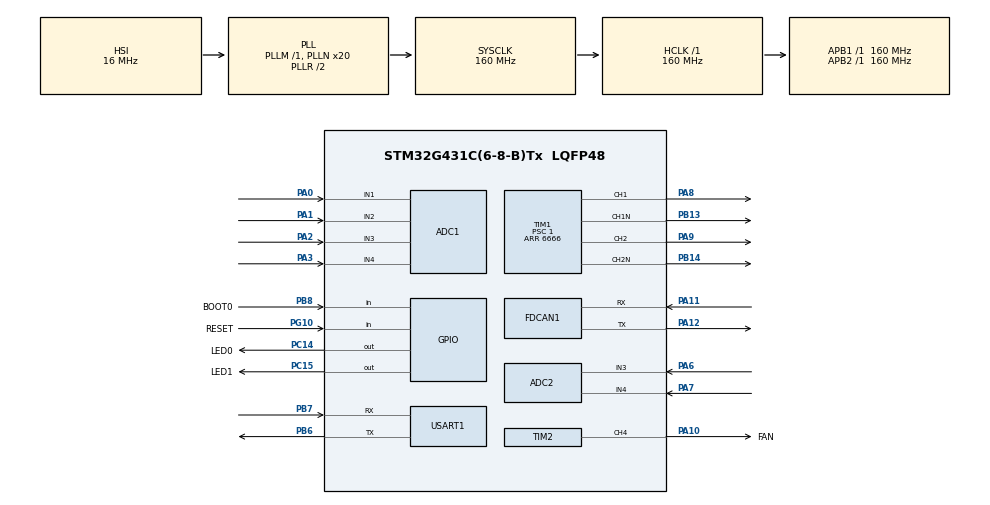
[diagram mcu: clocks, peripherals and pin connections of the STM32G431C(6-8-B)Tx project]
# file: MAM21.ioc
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ADC1.Channel-0\#ChannelRegularConversion=ADC_CHANNEL_1
ADC1.NbrOfConversionFlag=1
ADC1.OffsetNumber-0\#ChannelRegularConversion=ADC_OFFSET_NONE
ADC1.Rank-0\#ChannelRegularConversion=1
ADC1.SamplingTime-0\#ChannelRegularConversion=ADC_SAMPLETIME_2CYCLES_5
ADC1.SingleDiff-0\#ChannelRegularConversion=ADC_DIFFERENTIAL_ENDED
ADC1.master=1
ADC2.Channel-3\#ChannelRegularConversion=ADC_CHANNEL_3
ADC2.NbrOfConversionFlag=1
ADC2.OffsetNumber-3\#ChannelRegularConversion=ADC_OFFSET_NONE
ADC2.Rank-3\#ChannelRegularConversion=1
ADC2.SamplingTime-3\#ChannelRegularConversion=ADC_SAMPLETIME_2CYCLES_5
ADC2.SingleDiff-3\#ChannelRegularConversion=ADC_DIFFERENTIAL_ENDED
FDCAN1.AutoRetransmission=ENABLE
FDCAN1.DataPrescaler=20
FDCAN1.DataSyncJumpWidth=16
FDCAN1.DataTimeSeg1=13
FDCAN1.DataTimeSeg2=2
FDCAN1.Mode=FDCAN_MODE_NORMAL
FDCAN1.NominalPrescaler=20
FDCAN1.NominalSyncJumpWidth=16
FDCAN1.NominalTimeSeg1=13
FDCAN1.NominalTimeSeg2=2
FDCAN1.StdFiltersNbr=1
FDCAN1.TransmitPause=ENABLE
Mcu.Family=STM32G4
Mcu.Name=STM32G431C(6-8-B)Tx
Mcu.Package=LQFP48
NVIC.FDCAN1_IT0_IRQn=true\:0\:0\:false\:false\:true\:true\:true
NVIC.FDCAN1_IT1_IRQn=true\:0\:0\:false\:false\:true\:true\:true
NVIC.PriorityGroup=NVIC_PRIORITYGROUP_4
NVIC.TIM1_UP_TIM16_IRQn=true\:0\:0\:false\:false\:true\:true\:true
PA0.Mode=IN1-Differential
PA0.Signal=ADC1_IN1
PA1.Mode=IN1-Differential
PA1.Signal=ADC1_IN2
PA10.GPIO_Label=FAN
PA10.Signal=S_TIM2_CH4
PA11.GPIO_Speed=GPIO_SPEED_FREQ_VERY_HIGH
PA11.Mode=FDCAN_Activate
PA11.Signal=FDCAN1_RX
PA12.GPIO_Speed=GPIO_SPEED_FREQ_VERY_HIGH
PA12.Mode=FDCAN_Activate
PA12.Signal=FDCAN1_TX
PA13.Mode=Trace_Asynchronous_SW
PA13.Signal=SYS_JTMS-SWDIO
PA14.Mode=Trace_Asynchronous_SW
PA14.Signal=SYS_JTCK-SWCLK
PA2.Mode=IN3-Differential
PA2.Signal=ADC1_IN3
PA3.Mode=IN3-Differential
PA3.Signal=ADC1_IN4
PA6.Mode=IN3-Differential
PA6.Signal=ADC2_IN3
PA7.Mode=IN3-Differential
PA7.Signal=ADC2_IN4
PA8.GPIO_PuPd=GPIO_PULLDOWN
PA8.GPIO_Speed=GPIO_SPEED_FREQ_HIGH
PA8.Signal=S_TIM1_CH1
PA9.GPIO_PuPd=GPIO_PULLDOWN
PA9.GPIO_Speed=GPIO_SPEED_FREQ_HIGH
PA9.Signal=S_TIM1_CH2
PB13.Mode=PWM Generation1 CH1 CH1N
PB13.Signal=TIM1_CH1N
PB14.Mode=PWM Generation2 CH2 CH2N
PB14.Signal=TIM1_CH2N
PB3.Mode=Trace_Asynchronous_SW
PB3.Signal=SYS_JTDO-SWO
PB6.Mode=Asynchronous
PB6.Signal=USART1_TX
PB7.Mode=Asynchronous
PB7.Signal=USART1_RX
PB8-BOOT0.GPIO_Label=BOOT0
PB8-BOOT0.Signal=GPIO_Input
PC14-OSC32_IN.GPIO_Label=LED0
PC14-OSC32_IN.PinState=GPIO_PIN_SET
PC14-OSC32_IN.Signal=GPIO_Output
PC15-OSC32_OUT.GPIO_Label=LED1
PC15-OSC32_OUT.PinState=GPIO_PIN_RESET
PC15-OSC32_OUT.Signal=GPIO_Output
PG10-NRST.GPIO_Label=RESET
PG10-NRST.Signal=GPIO_Input
ProjectManager.HeapSize=0x200
ProjectManager.StackSize=0x400
ProjectManager.TargetToolchain=Makefile
RCC.ADC12Freq_Value=160000000
RCC.AHBFreq_Value=160000000
RCC.APB1Freq_Value=160000000
RCC.APB1TimFreq_Value=160000000
RCC.APB2Freq_Value=160000000
RCC.APB2TimFreq_Value=160000000
RCC.CortexFreq_Value=160000000
RCC.EXTERNAL_CLOCK_VALUE=12288000
RCC.HCLKFreq_Value=160000000
RCC.HSE_VALUE=8000000
RCC.HSI48_VALUE=48000000
RCC.HSI_VALUE=16000000
RCC.LSE_VALUE=32768
RCC.PLLN=20
RCC.SYSCLKFreq_VALUE=160000000
RCC.SYSCLKSource=RCC_SYSCLKSOURCE_PLLCLK
RCC.USBFreq_Value=160000000
RCC.VCOOutputFreq_Value=320000000
SH.S_TIM1_CH1.0=TIM1_CH1,PWM Generation1 CH1 CH1N
SH.S_TIM1_CH2.0=TIM1_CH2,PWM Generation2 CH2 CH2N
SH.S_TIM2_CH4.0=TIM2_CH4,PWM Generation4 CH4
TIM1.AsymmetricalDeadTime=DISABLE
TIM1.Channel-PWM\ Generation1\ CH1\ CH1N=TIM_CHANNEL_1
TIM1.Channel-PWM\ Generation2\ CH2\ CH2N=TIM_CHANNEL_2
TIM1.DeadTime=30
TIM1.FallingDeadTime=254
TIM1.OC1Preload_PWM=ENABLE
TIM1.OC2Preload_PWM=ENABLE
TIM1.OCMode_PWM-PWM\ Generation1\ CH1\ CH1N=TIM_OCMODE_PWM2
TIM1.OCMode_PWM-PWM\ Generation2\ CH2\ CH2N=TIM_OCMODE_PWM1
TIM1.OCNPolarity_1=TIM_OCNPOLARITY_HIGH
TIM1.OCNPolarity_2=TIM_OCNPOLARITY_HIGH
TIM1.OCPolarity_1=TIM_OCPOLARITY_HIGH
TIM1.PeriodNoDither=6666
TIM1.Prescaler=1
TIM1.PulseNoDither_1=3333
TIM1.PulseNoDither_2=3333
TIM2.Channel-PWM\ Generation1\ No\ Output=TIM_CHANNEL_1
TIM2.Channel-PWM\ Generation4\ CH4=TIM_CHANNEL_4
USART1.VirtualMode-Asynchronous=VM_ASYNC
VP_SYS_VS_DBSignals.Mode=DisableDeadBatterySignals
VP_TIM16_VS_ClockSourceINT.Mode=Enable_Timer
VP_TIM17_VS_ClockSourceINT.Mode=Enable_Timer
VP_TIM1_VS_ClockSourceINT.Mode=Internal
VP_TIM2_VS_no_output1.Mode=PWM Generation1 No Output
board=custom

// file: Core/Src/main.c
/* USER CODE BEGIN Header */
/**
 ******************************************************************************
 * @file           : main.c
 * @brief          : Main program body
 ******************************************************************************
 * @attention
 *
 * <h2><center>&copy; Copyright (c) 2022 STMicroelectronics.
 * All rights reserved.</center></h2>
 *
 * This software component is licensed by ST under BSD 3-Clause license,
 * the "License"; You may not use this file except in compliance with the
 * License. You may obtain a copy of the License at:
 *                        opensource.org/licenses/BSD-3-Clause
 *
 ******************************************************************************
 */
/* USER CODE END Header */
#include "main.h"

/* USER CODE BEGIN Includes */
#include "machine.h"
/* USER CODE END Includes */

ADC_HandleTypeDef hadc1;
ADC_HandleTypeDef hadc2;

FDCAN_HandleTypeDef hfdcan1;

TIM_HandleTypeDef htim1;
TIM_HandleTypeDef htim2;
TIM_HandleTypeDef htim16;
TIM_HandleTypeDef htim17;

UART_HandleTypeDef huart1;

/* USER CODE BEGIN PV */
uint8_t batata;
uint8_t ubKeyNumber = 0x0;
FDCAN_RxHeaderTypeDef RxHeader;
FDCAN_TxHeaderTypeDef TxHeader;

// For PWM control of engine
struct MotorControl
{
    uint32_t dir;
    uint32_t enable;
    float duty;
} control_temp;

/* USER CODE END PV */

void SystemClock_Config(void);
static void MX_GPIO_Init(void);
static void MX_ADC1_Init(void);
static void MX_ADC2_Init(void);
static void MX_FDCAN1_Init(void);
static void MX_USART1_UART_Init(void);
static void MX_TIM2_Init(void);
static void MX_TIM16_Init(void);
static void MX_TIM17_Init(void);
static void MX_TIM1_Init(void);
/* USER CODE BEGIN PFP */

static void FDCAN_Config(void);
/* USER CODE END PFP */

int main(void)
{

    /* MCU Configuration--------------------------------------------------------*/

    /* Reset of all peripherals, Initializes the Flash interface and the Systick. */
    HAL_Init();

    /* Configure the system clock */
    SystemClock_Config();

    /* Initialize all configured peripherals */
    MX_GPIO_Init();
    MX_ADC1_Init();
    MX_ADC2_Init();
    MX_FDCAN1_Init();
    MX_USART1_UART_Init();
    MX_TIM2_Init();
    MX_TIM16_Init();
    MX_TIM17_Init();
    MX_TIM1_Init();
    /* USER CODE BEGIN 2 */
    machine_init();
    control_init(&htim1);
    can_init(&hfdcan1);
    /* USER CODE END 2 */

    /* Infinite loop */
    while (1)
    {

        /* USER CODE BEGIN 3 */
        /* Set the data to be transmitted */

        // batata = HAL_FDCAN_GetRxFifoFillLevel(&hfdcan1, FDCAN_RX_FIFO0);
        // /* Start the Transmission process */
        // if (HAL_FDCAN_AddMessageToTxFifoQ(&hfdcan1, &TxHeader, TxData) != HAL_OK)
        // {
        //     /* Transmission request Error */
        //     //  Error_Handler();
        // }
        /* Retrieve Rx messages from RX FIFO0 */

        // HAL_FDCAN_IRQHandler(&hfdcan1);

         machine_run();
    }
    /* USER CODE END 3 */
}

void SystemClock_Config(void)
{
    RCC_OscInitTypeDef RCC_OscInitStruct = {0};
    RCC_ClkInitTypeDef RCC_ClkInitStruct = {0};
    RCC_PeriphCLKInitTypeDef PeriphClkInit = {0};

    /** Configure the main internal regulator output voltage
     */
    HAL_PWREx_ControlVoltageScaling(PWR_REGULATOR_VOLTAGE_SCALE1_BOOST);
    /** Initializes the RCC Oscillators according to the specified parameters
     * in the RCC_OscInitTypeDef structure.
     */
    RCC_OscInitStruct.OscillatorType = RCC_OSCILLATORTYPE_HSI;
    RCC_OscInitStruct.HSIState = RCC_HSI_ON;
    RCC_OscInitStruct.HSICalibrationValue = RCC_HSICALIBRATION_DEFAULT;
    RCC_OscInitStruct.PLL.PLLState = RCC_PLL_ON;
    RCC_OscInitStruct.PLL.PLLSource = RCC_PLLSOURCE_HSI;
    RCC_OscInitStruct.PLL.PLLM = RCC_PLLM_DIV1;
    RCC_OscInitStruct.PLL.PLLN = 20;
    RCC_OscInitStruct.PLL.PLLP = RCC_PLLP_DIV2;
    RCC_OscInitStruct.PLL.PLLQ = RCC_PLLQ_DIV2;
    RCC_OscInitStruct.PLL.PLLR = RCC_PLLR_DIV2;
    if (HAL_RCC_OscConfig(&RCC_OscInitStruct) != HAL_OK)
    {
        Error_Handler();
    }
    /** Initializes the CPU, AHB and APB buses clocks
     */
    RCC_ClkInitStruct.ClockType = RCC_CLOCKTYPE_HCLK | RCC_CLOCKTYPE_SYSCLK | RCC_CLOCKTYPE_PCLK1 | RCC_CLOCKTYPE_PCLK2;
    RCC_ClkInitStruct.SYSCLKSource = RCC_SYSCLKSOURCE_PLLCLK;
    RCC_ClkInitStruct.AHBCLKDivider = RCC_SYSCLK_DIV1;
    RCC_ClkInitStruct.APB1CLKDivider = RCC_HCLK_DIV1;
    RCC_ClkInitStruct.APB2CLKDivider = RCC_HCLK_DIV1;

    if (HAL_RCC_ClockConfig(&RCC_ClkInitStruct, FLASH_LATENCY_4) != HAL_OK)
    {
        Error_Handler();
    }
    /** Initializes the peripherals clocks
     */
    PeriphClkInit.PeriphClockSelection = RCC_PERIPHCLK_USART1 | RCC_PERIPHCLK_ADC12 | RCC_PERIPHCLK_FDCAN;
    PeriphClkInit.Usart1ClockSelection = RCC_USART1CLKSOURCE_PCLK2;
    PeriphClkInit.FdcanClockSelection = RCC_FDCANCLKSOURCE_PCLK1;
    PeriphClkInit.Adc12ClockSelection = RCC_ADC12CLKSOURCE_SYSCLK;
    if (HAL_RCCEx_PeriphCLKConfig(&PeriphClkInit) != HAL_OK)
    {
        Error_Handler();
    }
}

static void MX_ADC1_Init(void)
{

    ADC_MultiModeTypeDef multimode = {0};
    ADC_ChannelConfTypeDef sConfig = {0};

    /** Common config
     */
    hadc1.Instance = ADC1;
    hadc1.Init.ClockPrescaler = ADC_CLOCK_SYNC_PCLK_DIV4;
    hadc1.Init.Resolution = ADC_RESOLUTION_12B;
    hadc1.Init.DataAlign = ADC_DATAALIGN_RIGHT;
    hadc1.Init.GainCompensation = 0;
    hadc1.Init.ScanConvMode = ADC_SCAN_DISABLE;
    hadc1.Init.EOCSelection = ADC_EOC_SINGLE_CONV;
    hadc1.Init.LowPowerAutoWait = DISABLE;
    hadc1.Init.ContinuousConvMode = DISABLE;
    hadc1.Init.NbrOfConversion = 1;
    hadc1.Init.DiscontinuousConvMode = DISABLE;
    hadc1.Init.ExternalTrigConv = ADC_SOFTWARE_START;
    hadc1.Init.ExternalTrigConvEdge = ADC_EXTERNALTRIGCONVEDGE_NONE;
    hadc1.Init.DMAContinuousRequests = DISABLE;
    hadc1.Init.Overrun = ADC_OVR_DATA_PRESERVED;
    hadc1.Init.OversamplingMode = DISABLE;
    if (HAL_ADC_Init(&hadc1) != HAL_OK)
    {
        Error_Handler();
    }
    /** Configure the ADC multi-mode
     */
    multimode.Mode = ADC_MODE_INDEPENDENT;
    if (HAL_ADCEx_MultiModeConfigChannel(&hadc1, &multimode) != HAL_OK)
    {
        Error_Handler();
    }
    /** Configure Regular Channel
     */
    sConfig.Channel = ADC_CHANNEL_1;
    sConfig.Rank = ADC_REGULAR_RANK_1;
    sConfig.SamplingTime = ADC_SAMPLETIME_2CYCLES_5;
    sConfig.SingleDiff = ADC_DIFFERENTIAL_ENDED;
    sConfig.OffsetNumber = ADC_OFFSET_NONE;
    sConfig.Offset = 0;
    if (HAL_ADC_ConfigChannel(&hadc1, &sConfig) != HAL_OK)
    {
        Error_Handler();
    }
}

static void MX_ADC2_Init(void)
{

    ADC_ChannelConfTypeDef sConfig = {0};

    /** Common config
     */
    hadc2.Instance = ADC2;
    hadc2.Init.ClockPrescaler = ADC_CLOCK_SYNC_PCLK_DIV4;
    hadc2.Init.Resolution = ADC_RESOLUTION_12B;
    hadc2.Init.DataAlign = ADC_DATAALIGN_RIGHT;
    hadc2.Init.GainCompensation = 0;
    hadc2.Init.ScanConvMode = ADC_SCAN_DISABLE;
    hadc2.Init.EOCSelection = ADC_EOC_SINGLE_CONV;
    hadc2.Init.LowPowerAutoWait = DISABLE;
    hadc2.Init.ContinuousConvMode = DISABLE;
    hadc2.Init.NbrOfConversion = 1;
    hadc2.Init.DiscontinuousConvMode = DISABLE;
    hadc2.Init.ExternalTrigConv = ADC_SOFTWARE_START;
    hadc2.Init.ExternalTrigConvEdge = ADC_EXTERNALTRIGCONVEDGE_NONE;
    hadc2.Init.DMAContinuousRequests = DISABLE;
    hadc2.Init.Overrun = ADC_OVR_DATA_PRESERVED;
    hadc2.Init.OversamplingMode = DISABLE;
    if (HAL_ADC_Init(&hadc2) != HAL_OK)
    {
        Error_Handler();
    }
    /** Configure Regular Channel
     */
    sConfig.Channel = ADC_CHANNEL_3;
    sConfig.Rank = ADC_REGULAR_RANK_1;
    sConfig.SamplingTime = ADC_SAMPLETIME_2CYCLES_5;
    sConfig.SingleDiff = ADC_DIFFERENTIAL_ENDED;
    sConfig.OffsetNumber = ADC_OFFSET_NONE;
    sConfig.Offset = 0;
    if (HAL_ADC_ConfigChannel(&hadc2, &sConfig) != HAL_OK)
    {
        Error_Handler();
    }
}

static void MX_FDCAN1_Init(void)
{

    hfdcan1.Instance = FDCAN1;
    hfdcan1.Init.ClockDivider = FDCAN_CLOCK_DIV1;
    hfdcan1.Init.FrameFormat = FDCAN_FRAME_CLASSIC;
    hfdcan1.Init.Mode = FDCAN_MODE_NORMAL;
    hfdcan1.Init.AutoRetransmission = ENABLE;
    hfdcan1.Init.TransmitPause = ENABLE;
    hfdcan1.Init.ProtocolException = DISABLE;
    hfdcan1.Init.NominalPrescaler = 20;
    hfdcan1.Init.NominalSyncJumpWidth = 16;
    hfdcan1.Init.NominalTimeSeg1 = 13;
    hfdcan1.Init.NominalTimeSeg2 = 2;
    hfdcan1.Init.DataPrescaler = 20;
    hfdcan1.Init.DataSyncJumpWidth = 16;
    hfdcan1.Init.DataTimeSeg1 = 13;
    hfdcan1.Init.DataTimeSeg2 = 2;
    hfdcan1.Init.StdFiltersNbr = 1;
    hfdcan1.Init.ExtFiltersNbr = 0;
    hfdcan1.Init.TxFifoQueueMode = FDCAN_TX_FIFO_OPERATION;
    if (HAL_FDCAN_Init(&hfdcan1) != HAL_OK)
    {
        Error_Handler();
    }
}

static void MX_TIM1_Init(void)
{

    TIM_ClockConfigTypeDef sClockSourceConfig = {0};
    TIM_MasterConfigTypeDef sMasterConfig = {0};
    TIM_OC_InitTypeDef sConfigOC = {0};
    TIM_BreakDeadTimeConfigTypeDef sBreakDeadTimeConfig = {0};

    htim1.Instance = TIM1;
    htim1.Init.Prescaler = 1;
    htim1.Init.CounterMode = TIM_COUNTERMODE_UP;
    htim1.Init.Period = 6666;
    htim1.Init.ClockDivision = TIM_CLOCKDIVISION_DIV1;
    htim1.Init.RepetitionCounter = 0;
    htim1.Init.AutoReloadPreload = TIM_AUTORELOAD_PRELOAD_DISABLE;
    if (HAL_TIM_Base_Init(&htim1) != HAL_OK)
    {
        Error_Handler();
    }
    sClockSourceConfig.ClockSource = TIM_CLOCKSOURCE_INTERNAL;
    if (HAL_TIM_ConfigClockSource(&htim1, &sClockSourceConfig) != HAL_OK)
    {
        Error_Handler();
    }
    if (HAL_TIM_PWM_Init(&htim1) != HAL_OK)
    {
        Error_Handler();
    }
    sMasterConfig.MasterOutputTrigger = TIM_TRGO_RESET;
    sMasterConfig.MasterOutputTrigger2 = TIM_TRGO2_RESET;
    sMasterConfig.MasterSlaveMode = TIM_MASTERSLAVEMODE_DISABLE;
    if (HAL_TIMEx_MasterConfigSynchronization(&htim1, &sMasterConfig) != HAL_OK)
    {
        Error_Handler();
    }
    sConfigOC.OCMode = TIM_OCMODE_PWM2;
    sConfigOC.Pulse = 3333;
    sConfigOC.OCPolarity = TIM_OCPOLARITY_HIGH;
    sConfigOC.OCNPolarity = TIM_OCNPOLARITY_HIGH;
    sConfigOC.OCFastMode = TIM_OCFAST_DISABLE;
    sConfigOC.OCIdleState = TIM_OCIDLESTATE_RESET;
    sConfigOC.OCNIdleState = TIM_OCNIDLESTATE_RESET;
    if (HAL_TIM_PWM_ConfigChannel(&htim1, &sConfigOC, TIM_CHANNEL_1) != HAL_OK)
    {
        Error_Handler();
    }
    sConfigOC.OCMode = TIM_OCMODE_PWM1;
    if (HAL_TIM_PWM_ConfigChannel(&htim1, &sConfigOC, TIM_CHANNEL_2) != HAL_OK)
    {
        Error_Handler();
    }
    sBreakDeadTimeConfig.OffStateRunMode = TIM_OSSR_DISABLE;
    sBreakDeadTimeConfig.OffStateIDLEMode = TIM_OSSI_DISABLE;
    sBreakDeadTimeConfig.LockLevel = TIM_LOCKLEVEL_OFF;
    sBreakDeadTimeConfig.DeadTime = 30;
    sBreakDeadTimeConfig.BreakState = TIM_BREAK_DISABLE;
    sBreakDeadTimeConfig.BreakPolarity = TIM_BREAKPOLARITY_HIGH;
    sBreakDeadTimeConfig.BreakFilter = 0;
    sBreakDeadTimeConfig.BreakAFMode = TIM_BREAK_AFMODE_INPUT;
    sBreakDeadTimeConfig.Break2State = TIM_BREAK2_DISABLE;
    sBreakDeadTimeConfig.Break2Polarity = TIM_BREAK2POLARITY_HIGH;
    sBreakDeadTimeConfig.Break2Filter = 0;
    sBreakDeadTimeConfig.Break2AFMode = TIM_BREAK_AFMODE_INPUT;
    sBreakDeadTimeConfig.AutomaticOutput = TIM_AUTOMATICOUTPUT_DISABLE;
    if (HAL_TIMEx_ConfigBreakDeadTime(&htim1, &sBreakDeadTimeConfig) != HAL_OK)
    {
        Error_Handler();
    }
    HAL_TIM_MspPostInit(&htim1);
}

static void MX_TIM2_Init(void)
{

    TIM_MasterConfigTypeDef sMasterConfig = {0};
    TIM_OC_InitTypeDef sConfigOC = {0};

    htim2.Instance = TIM2;
    htim2.Init.Prescaler = 0;
    htim2.Init.CounterMode = TIM_COUNTERMODE_UP;
    htim2.Init.Period = 4.294967295E9;
    htim2.Init.ClockDivision = TIM_CLOCKDIVISION_DIV1;
    htim2.Init.AutoReloadPreload = TIM_AUTORELOAD_PRELOAD_DISABLE;
    if (HAL_TIM_PWM_Init(&htim2) != HAL_OK)
    {
        Error_Handler();
    }
    sMasterConfig.MasterOutputTrigger = TIM_TRGO_RESET;
    sMasterConfig.MasterSlaveMode = TIM_MASTERSLAVEMODE_DISABLE;
    if (HAL_TIMEx_MasterConfigSynchronization(&htim2, &sMasterConfig) != HAL_OK)
    {
        Error_Handler();
    }
    sConfigOC.OCMode = TIM_OCMODE_PWM1;
    sConfigOC.Pulse = 0;
    sConfigOC.OCPolarity = TIM_OCPOLARITY_HIGH;
    sConfigOC.OCFastMode = TIM_OCFAST_DISABLE;
    if (HAL_TIM_PWM_ConfigChannel(&htim2, &sConfigOC, TIM_CHANNEL_1) != HAL_OK)
    {
        Error_Handler();
    }
    if (HAL_TIM_PWM_ConfigChannel(&htim2, &sConfigOC, TIM_CHANNEL_4) != HAL_OK)
    {
        Error_Handler();
    }
    HAL_TIM_MspPostInit(&htim2);
}

static void MX_TIM16_Init(void)
{

    htim16.Instance = TIM16;
    htim16.Init.Prescaler = 0;
    htim16.Init.CounterMode = TIM_COUNTERMODE_UP;
    htim16.Init.Period = 65535;
    htim16.Init.ClockDivision = TIM_CLOCKDIVISION_DIV1;
    htim16.Init.RepetitionCounter = 0;
    htim16.Init.AutoReloadPreload = TIM_AUTORELOAD_PRELOAD_DISABLE;
    if (HAL_TIM_Base_Init(&htim16) != HAL_OK)
    {
        Error_Handler();
    }
}

static void MX_TIM17_Init(void)
{

    htim17.Instance = TIM17;
    htim17.Init.Prescaler = 0;
    htim17.Init.CounterMode = TIM_COUNTERMODE_UP;
    htim17.Init.Period = 65535;
    htim17.Init.ClockDivision = TIM_CLOCKDIVISION_DIV1;
    htim17.Init.RepetitionCounter = 0;
    htim17.Init.AutoReloadPreload = TIM_AUTORELOAD_PRELOAD_DISABLE;
    if (HAL_TIM_Base_Init(&htim17) != HAL_OK)
    {
        Error_Handler();
    }
}

static void MX_USART1_UART_Init(void)
{

    huart1.Instance = USART1;
    huart1.Init.BaudRate = 115200;
    huart1.Init.WordLength = UART_WORDLENGTH_8B;
    huart1.Init.StopBits = UART_STOPBITS_1;
    huart1.Init.Parity = UART_PARITY_NONE;
    huart1.Init.Mode = UART_MODE_TX_RX;
    huart1.Init.HwFlowCtl = UART_HWCONTROL_NONE;
    huart1.Init.OverSampling = UART_OVERSAMPLING_16;
    huart1.Init.OneBitSampling = UART_ONE_BIT_SAMPLE_DISABLE;
    huart1.Init.ClockPrescaler = UART_PRESCALER_DIV1;
    huart1.AdvancedInit.AdvFeatureInit = UART_ADVFEATURE_NO_INIT;
    if (HAL_UART_Init(&huart1) != HAL_OK)
    {
        Error_Handler();
    }
    if (HAL_UARTEx_SetTxFifoThreshold(&huart1, UART_TXFIFO_THRESHOLD_1_8) != HAL_OK)
    {
        Error_Handler();
    }
    if (HAL_UARTEx_SetRxFifoThreshold(&huart1, UART_RXFIFO_THRESHOLD_1_8) != HAL_OK)
    {
        Error_Handler();
    }
    if (HAL_UARTEx_DisableFifoMode(&huart1) != HAL_OK)
    {
        Error_Handler();
    }
}

static void MX_GPIO_Init(void)
{
    GPIO_InitTypeDef GPIO_InitStruct = {0};

    /* GPIO Ports Clock Enable */
    __HAL_RCC_GPIOC_CLK_ENABLE();
    __HAL_RCC_GPIOG_CLK_ENABLE();
    __HAL_RCC_GPIOA_CLK_ENABLE();
    __HAL_RCC_GPIOB_CLK_ENABLE();

    /*Configure GPIO pin Output Level */
    HAL_GPIO_WritePin(LED0_GPIO_Port, LED0_Pin, GPIO_PIN_SET);

    /*Configure GPIO pin Output Level */
    HAL_GPIO_WritePin(LED1_GPIO_Port, LED1_Pin, GPIO_PIN_RESET);

    /*Configure GPIO pins : LED0_Pin LED1_Pin */
    GPIO_InitStruct.Pin = LED0_Pin | LED1_Pin;
    GPIO_InitStruct.Mode = GPIO_MODE_OUTPUT_PP;
    GPIO_InitStruct.Pull = GPIO_NOPULL;
    GPIO_InitStruct.Speed = GPIO_SPEED_FREQ_LOW;
    HAL_GPIO_Init(GPIOC, &GPIO_InitStruct);

    /*Configure GPIO pin : RESET_Pin */
    GPIO_InitStruct.Pin = RESET_Pin;
    GPIO_InitStruct.Mode = GPIO_MODE_INPUT;
    GPIO_InitStruct.Pull = GPIO_NOPULL;
    HAL_GPIO_Init(RESET_GPIO_Port, &GPIO_InitStruct);

    /*Configure GPIO pin : BOOT0_Pin */
    GPIO_InitStruct.Pin = BOOT0_Pin;
    GPIO_InitStruct.Mode = GPIO_MODE_INPUT;
    GPIO_InitStruct.Pull = GPIO_NOPULL;
    HAL_GPIO_Init(BOOT0_GPIO_Port, &GPIO_InitStruct);
}

/* USER CODE BEGIN 4 */

// void HAL_FDCAN_RxFifo0Callback(FDCAN_HandleTypeDef *hfdcan, uint32_t RxFifo0ITs)
// {
//     can_msg_t Rx_msg;
//     if ((RxFifo0ITs & FDCAN_IT_RX_FIFO0_NEW_MESSAGE) != RESET)
//     {
//         /* Retrieve Rx messages from RX FIFO0 */
//         if (HAL_FDCAN_GetRxMessage(hfdcan, FDCAN_RX_FIFO0, &Rx_msg.RxHeader, Rx_msg.data.raw) != HAL_OK)
//         {
//         }
//         can_parse(&Rx_msg);

//         HAL_GPIO_TogglePin(GPIOC, GPIO_PIN_14);
//     }
// }

/*
https://www.modularcircuits.com/blog/articles/h-bridge-secrets/h-bridge-control/

  | 0cycle | 1cycle
Q1|DIR      |DT
Q2|!DIR     |!DT
Q3|!DT     |!DIR
Q4|DT      |DIR
Assuming Q1 = CH1,Q2 = !CH1 and Q3 = CH2,Q4 = !CH2
    | 0cycle | 1 cycle
CH1 |DIR     | DT
CH2 |!DT     | !DIR
For the power off state all Mosfets can be disabled and let the current be conduced for the body diode

*/
void HAL_TIM_PeriodElapsedCallback(TIM_HandleTypeDef *htim)
{
    static uint32_t machine_clk_div = 0;

    if (htim->Instance == htim1.Instance)
    {
        if (++machine_clk_div == 100)
        {
            machine_clk_div = 0;
            machine_set_run();
        }
        h_bridge_run();
    }
}
void HAL_TIM_PWM_PulseFinishedCallback(TIM_HandleTypeDef *htim)
{
}
/* USER CODE END 4 */

void Error_Handler(void)
{
    /* USER CODE BEGIN Error_Handler_Debug */
    /* User can add his own implementation to report the HAL error return state */
    __disable_irq();
    while (1)
    {

        HAL_GPIO_TogglePin(LED1_GPIO_Port, LED1_Pin);
        HAL_Delay(1);
    }
    /* USER CODE END Error_Handler_Debug */
}

/************************ (C) COPYRIGHT STMicroelectronics *****END OF FILE****/
